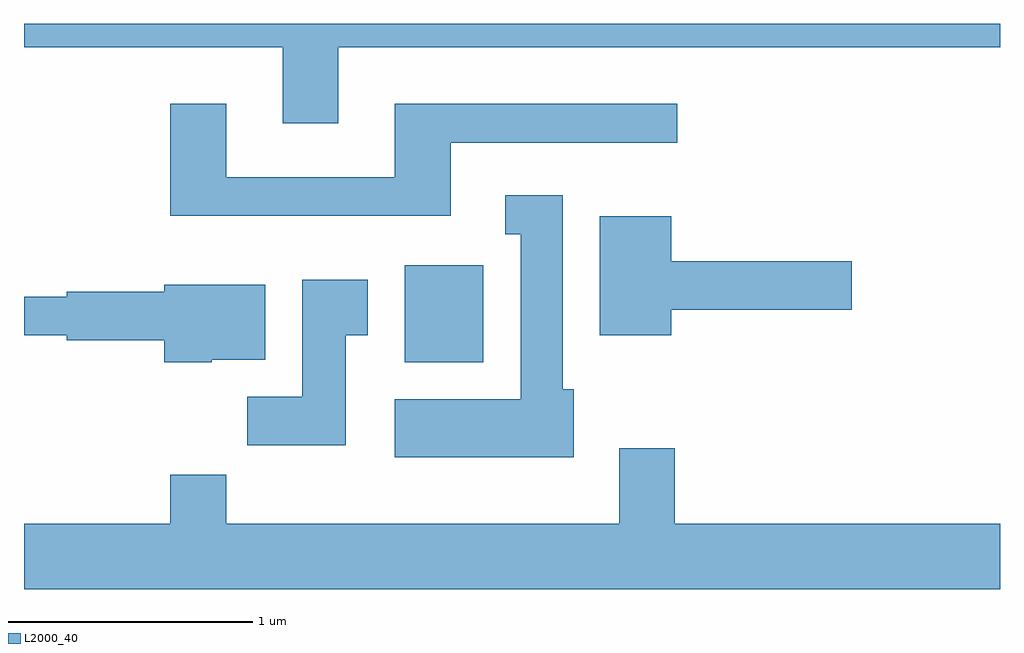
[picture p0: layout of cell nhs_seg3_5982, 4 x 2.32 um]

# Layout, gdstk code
import gdstk
lib = gdstk.Library(unit=1e-6, precision=1e-09)
def R(c, l, rs):  # rectangles x0, y0, x1, y1
    for r in rs: c.add(gdstk.rectangle(r[:2], r[2:], *l))
def P(c, l, *ps):  # polygons
    for p in ps: c.add(gdstk.Polygon(p, *l))
L2000_40 = (2000, 40)

nhs_seg3_5982 = lib.new_cell('nhs_seg3_5982')
R(nhs_seg3_5982, L2000_40, [(363.171,1122.506,363.494,1122.904)])
P(nhs_seg3_5982, L2000_40, [(362.899,1123.796),(365.611,1123.796),(365.611,1123.892),(361.611,1123.892),(361.611,1123.796),(362.671,1123.796),(362.671,1123.486),(362.899,1123.486)],
  [(363.359,1123.406),(364.288,1123.406),(364.288,1123.564),(363.131,1123.564),(363.131,1123.264),(362.439,1123.264),(362.439,1123.564),(362.211,1123.564),(362.211,1123.106),(363.359,1123.106)],
  [(363.864,1122.394),(363.819,1122.394),(363.819,1123.189),(363.583,1123.189),(363.583,1123.031),(363.646,1123.031),(363.646,1122.354),(363.131,1122.354),(363.131,1122.116),(363.864,1122.116)],
  [(364.264,1122.721),(365.004,1122.721),(365.004,1122.919),(364.264,1122.919),(364.264,1123.104),(363.971,1123.104),(363.971,1122.616),(364.264,1122.616)],
  [(362.929,1122.616),(363.019,1122.616),(363.019,1122.844),(362.751,1122.844),(362.751,1122.364),(362.526,1122.364),(362.526,1122.166),(362.929,1122.166)],
  [(362.38,1122.516),(362.599,1122.516),(362.599,1122.824),(362.186,1122.824),(362.186,1122.794),(361.786,1122.794),(361.786,1122.774),(361.611,1122.774),(361.611,1122.616),(361.786,1122.616),(361.786,1122.596),(362.186,1122.596),(362.186,1122.506),(362.38,1122.506)],
  [(365.611,1121.844),(364.279,1121.844),(364.279,1122.154),(364.051,1122.154),(364.051,1121.844),(362.439,1121.844),(362.439,1122.044),(362.211,1122.044),(362.211,1121.844),(361.611,1121.844),(361.611,1121.576),(365.611,1121.576)])

lib.write_gds('nhs_seg3_5982.gds')
